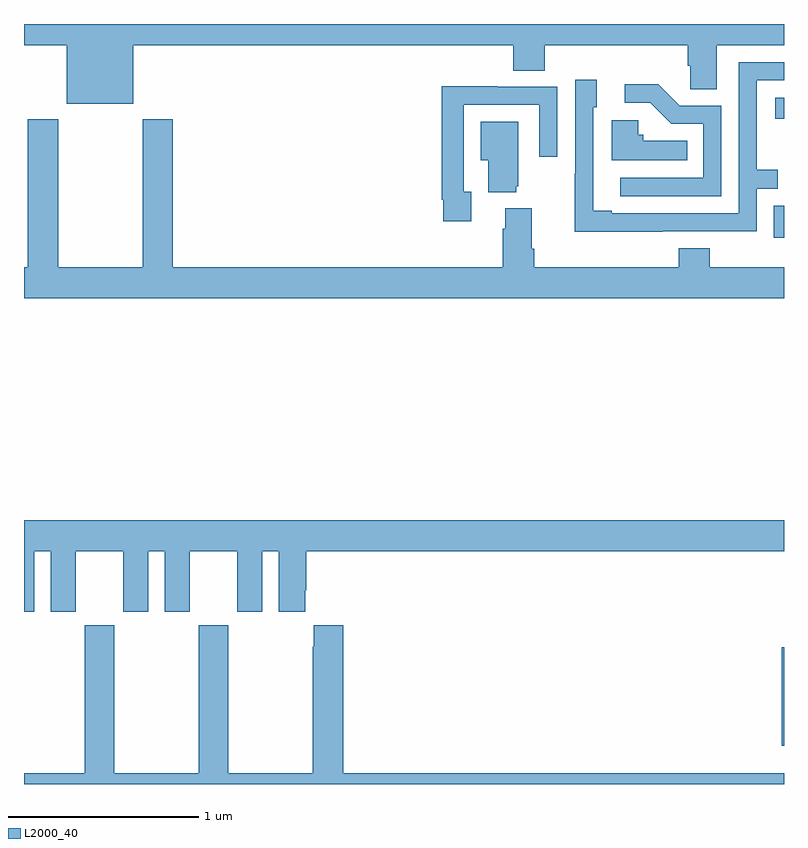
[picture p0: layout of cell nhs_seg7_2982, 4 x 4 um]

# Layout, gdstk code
import gdstk
lib = gdstk.Library(unit=1e-6, precision=1e-09)
def R(c, l, rs):  # rectangles x0, y0, x1, y1
    for r in rs: c.add(gdstk.rectangle(r[:2], r[2:], *l))
def P(c, l, *ps):  # polygons
    for p in ps: c.add(gdstk.Polygon(p, *l))
L2000_40 = (2000, 40)

nhs_seg7_2982 = lib.new_cell('nhs_seg7_2982')
R(nhs_seg7_2982, L2000_40, [(304.988,1058.202,305,1058.719), (304.947,1060.875,305,1061.043), (304.953,1061.501,305,1061.611)])
P(nhs_seg7_2982, L2000_40, [(301.576,1061.888),(303.575,1061.888),(303.575,1061.755),(303.74,1061.755),(303.74,1061.888),(304.493,1061.888),(304.493,1061.779),(304.506,1061.779),(304.506,1061.656),(304.645,1061.656),(304.645,1061.888),(305,1061.888),(305,1062),(301,1062),(301,1061.888),(301.226,1061.888),(301.226,1061.579),(301.576,1061.579)],
  [(304.361,1060.908),(304.857,1060.908),(304.857,1061.133),(304.967,1061.133),(304.967,1061.234),(304.857,1061.234),(304.857,1061.703),(305,1061.703),(305,1061.799),(304.761,1061.799),(304.761,1061.004),(304.093,1061.004),(304.093,1061.017),(303.996,1061.017),(303.996,1061.562),(304.015,1061.562),(304.015,1061.707),(303.9,1061.707),(303.9,1061.213),(303.898,1061.213),(303.898,1060.907),(304.361,1060.907)],
  [(304.671,1061.571),(304.452,1061.571),(304.339,1061.684),(304.161,1061.684),(304.161,1061.586),(304.295,1061.586),(304.406,1061.475),(304.575,1061.475),(304.575,1061.19),(304.137,1061.19),(304.137,1061.094),(304.671,1061.094)],
  [(303.355,1061.118),(303.315,1061.118),(303.315,1061.574),(303.711,1061.574),(303.711,1061.301),(303.807,1061.301),(303.807,1061.67),(303.491,1061.67),(303.491,1061.672),(303.199,1061.672),(303.199,1061.074),(303.207,1061.074),(303.207,1060.962),(303.355,1060.962)],
  [(305,1060.72),(304.61,1060.72),(304.61,1060.819),(304.445,1060.819),(304.445,1060.72),(303.686,1060.72),(303.686,1060.816),(303.673,1060.816),(303.673,1061.029),(303.533,1061.029),(303.533,1060.922),(303.521,1060.922),(303.521,1060.72),(301.784,1060.72),(301.784,1061.5),(301.624,1061.5),(301.624,1060.72),(301.179,1060.72),(301.179,1061.5),(301.019,1061.5),(301.019,1060.72),(301,1060.72),(301,1060.556),(305,1060.556)],
  [(304.49,1061.386),(304.26,1061.386),(304.26,1061.418),(304.233,1061.418),(304.233,1061.494),(304.094,1061.494),(304.094,1061.282),(304.49,1061.282)],
  [(303.59,1061.145),(303.601,1061.145),(303.601,1061.485),(303.404,1061.485),(303.404,1061.282),(303.443,1061.282),(303.443,1061.114),(303.59,1061.114)],
  [(301,1058.907),(301.054,1058.907),(301.054,1059.224),(301.142,1059.224),(301.142,1058.907),(301.273,1058.907),(301.273,1059.224),(301.523,1059.224),(301.523,1058.907),(301.654,1058.907),(301.654,1059.224),(301.742,1059.224),(301.742,1058.907),(301.873,1058.907),(301.873,1059.224),(302.123,1059.224),(302.123,1058.907),(302.254,1058.907),(302.254,1059.224),(302.342,1059.224),(302.342,1058.907),(302.479,1058.907),(302.479,1059.019),(302.486,1059.019),(302.486,1059.224),(305,1059.224),(305,1059.388),(301,1059.388)],
  [(305,1058.056),(302.681,1058.056),(302.681,1058.836),(302.525,1058.836),(302.525,1058.723),(302.521,1058.723),(302.521,1058.056),(302.076,1058.056),(302.076,1058.836),(301.921,1058.836),(301.921,1058.056),(301.476,1058.056),(301.476,1058.836),(301.321,1058.836),(301.321,1058.056),(301,1058.056),(301,1058),(305,1058)])

lib.write_gds('nhs_seg7_2982.gds')
